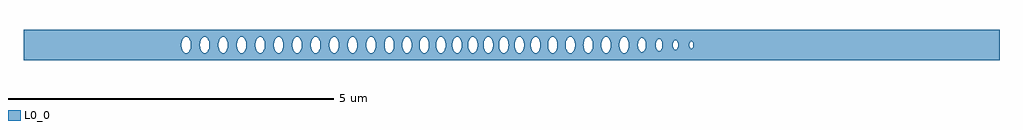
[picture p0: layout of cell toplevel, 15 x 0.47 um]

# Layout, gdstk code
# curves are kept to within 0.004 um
import gdstk
lib = gdstk.Library(unit=1e-6, precision=1e-09)
def P(c, l, *ps):  # polygons
    for p in ps: c.add(gdstk.Polygon(p, *l))
L0_0 = (0, 0)

toplevel = lib.new_cell('toplevel')
P(toplevel, L0_0, [(-4.427,-0.234),(-4.427,-0.127),(-4.459,-0.119),(-4.482,-0.093),(-4.498,-0.054),(-4.504,-0.016),(-4.498,0.054),(-4.482,0.093),(-4.459,0.119),(-4.427,0.127),(-4.427,0.234),(-7.5,0.234),(-7.5,-0.008),(-5.073,-0.008),(-5.068,0.047),(-5.05,0.093),(-5.027,0.119),(-5.001,0.128),(-4.974,0.119),(-4.951,0.093),(-4.933,0.047),(-4.928,-0.008),(-4.789,-0.008),(-4.784,0.047),(-4.766,0.093),(-4.743,0.119),(-4.716,0.128),(-4.69,0.119),(-4.67,0.098),(-4.655,0.068),(-4.644,0.016),(-4.647,-0.039),(-4.658,-0.075),(-4.681,-0.112),(-4.716,-0.128),(-4.743,-0.119),(-4.766,-0.093),(-4.784,-0.047),(-4.789,-0.008),(-4.928,-0.008),(-4.939,-0.068),(-4.954,-0.098),(-4.974,-0.119),(-5.001,-0.128),(-5.027,-0.119),(-5.047,-0.098),(-5.062,-0.068),(-5.073,-0.008),(-7.5,-0.008),(-7.5,-0.234)],
  [(-3.649,-0.032),(-3.648,0.234),(-4.427,0.234),(-4.427,0.127),(-4.397,0.112),(-4.373,0.075),(-4.363,0.039),(-4.36,-0.016),(-4.22,-0.016),(-4.217,0.039),(-4.206,0.075),(-4.183,0.112),(-4.148,0.128),(-4.121,0.119),(-4.098,0.093),(-4.08,0.047),(-4.075,-0.008),(-3.936,-0.008),(-3.931,0.047),(-3.913,0.093),(-3.89,0.119),(-3.863,0.128),(-3.837,0.119),(-3.817,0.098),(-3.802,0.068),(-3.791,0.008),(-3.796,-0.047),(-3.814,-0.093),(-3.837,-0.119),(-3.863,-0.128),(-3.89,-0.119),(-3.91,-0.098),(-3.925,-0.068),(-3.936,-0.008),(-4.075,-0.008),(-4.08,-0.047),(-4.098,-0.093),(-4.121,-0.119),(-4.148,-0.128),(-4.174,-0.119),(-4.194,-0.098),(-4.209,-0.068),(-4.22,-0.016),(-4.36,-0.016),(-4.382,-0.093),(-4.405,-0.119),(-4.427,-0.127),(-4.427,-0.234),(-3.648,-0.234)],
  [(-1.026,-0.075),(-1.058,-0.119),(-1.084,-0.128),(-1.111,-0.119),(-1.143,-0.075),(-1.152,-0.047),(-1.157,0.008),(-1.152,0.047),(-1.134,0.093),(-1.111,0.119),(-1.089,0.127),(-1.071,0.125),(-1.049,0.112),(-1.026,0.075),(-1.015,0.039),(-1.015,0.234),(-1.61,0.234),(-1.61,0.127),(-1.579,0.119),(-1.556,0.093),(-1.54,0.054),(-1.534,-0.016),(-1.413,-0.016),(-1.41,0.039),(-1.397,0.081),(-1.376,0.112),(-1.341,0.128),(-1.314,0.119),(-1.291,0.093),(-1.273,0.047),(-1.268,0.008),(-1.273,-0.047),(-1.291,-0.093),(-1.314,-0.119),(-1.341,-0.128),(-1.367,-0.119),(-1.387,-0.098),(-1.402,-0.068),(-1.413,-0.016),(-1.534,-0.016),(-1.54,-0.054),(-1.556,-0.093),(-1.579,-0.119),(-1.61,-0.127),(-1.61,-0.234),(-1.015,-0.234),(-1.015,-0.04)],
  [(-0.351,-0.234),(-0.351,-0.127),(-0.382,-0.119),(-0.402,-0.098),(-0.417,-0.068),(-0.428,-0.016),(-0.425,0.039),(-0.409,0.087),(-0.382,0.119),(-0.351,0.127),(-0.351,0.234),(-1.015,0.234),(-1.012,-0.016),(-0.908,-0.016),(-0.906,0.032),(-0.895,0.075),(-0.871,0.112),(-0.836,0.128),(-0.809,0.119),(-0.786,0.093),(-0.77,0.054),(-0.764,-0.016),(-0.666,-0.016),(-0.664,0.032),(-0.653,0.075),(-0.629,0.112),(-0.594,0.128),(-0.567,0.119),(-0.548,0.098),(-0.535,0.075),(-0.522,0.016),(-0.524,-0.032),(-0.535,-0.075),(-0.559,-0.112),(-0.594,-0.128),(-0.621,-0.119),(-0.644,-0.093),(-0.658,-0.061),(-0.666,-0.016),(-0.764,-0.016),(-0.77,-0.054),(-0.786,-0.093),(-0.809,-0.119),(-0.836,-0.128),(-0.863,-0.119),(-0.886,-0.093),(-0.908,-0.016),(-1.012,-0.016),(-1.015,-0.234)],
  [(0.192,-0.032),(0.183,-0.068),(0.16,-0.108),(0.135,-0.125),(0.108,-0.125),(0.083,-0.108),(0.063,-0.075),(0.051,-0.032),(0.049,0.008),(0.06,0.068),(0.075,0.098),(0.095,0.119),(0.122,0.128),(0.148,0.119),(0.168,0.098),(0.183,0.068),(0.194,0.008),(0.194,0.234),(-0.351,0.234),(-0.351,0.127),(-0.321,0.112),(-0.297,0.075),(-0.287,0.039),(-0.284,-0.008),(-0.191,-0.008),(-0.186,0.047),(-0.168,0.093),(-0.145,0.119),(-0.119,0.128),(-0.092,0.119),(-0.072,0.098),(-0.057,0.068),(-0.046,0.008),(-0.051,-0.047),(-0.069,-0.093),(-0.092,-0.119),(-0.119,-0.128),(-0.145,-0.119),(-0.165,-0.098),(-0.18,-0.068),(-0.191,-0.008),(-0.284,-0.008),(-0.29,-0.054),(-0.306,-0.093),(-0.329,-0.119),(-0.351,-0.127),(-0.351,-0.234),(0.194,-0.234)],
  [(2.235,0.072),(2.265,0.094),(2.29,0.085),(2.314,0.045),(2.32,-0.005),(2.478,-0.005),(2.482,0.033),(2.493,0.059),(2.512,0.076),(2.528,0.076),(2.551,0.053),(2.561,0.019),(2.561,-0.011),(2.733,-0.011),(2.741,0.041),(2.753,0.056),(2.769,0.06),(2.788,0.041),(2.796,-0.011),(2.788,-0.041),(2.769,-0.06),(2.746,-0.049),(2.733,-0.011),(2.561,-0.011),(2.551,-0.053),(2.538,-0.07),(2.518,-0.077),(2.493,-0.059),(2.478,-0.005),(2.32,-0.005),(2.308,-0.06),(2.281,-0.091),(2.255,-0.091),(2.23,-0.064),(2.23,-0.234),(7.5,-0.234),(7.5,0.234),(2.23,0.234),(2.23,0.064)],
  [(-3.51,-0.039),(-3.523,-0.081),(-3.54,-0.108),(-3.552,-0.119),(-3.579,-0.128),(-3.606,-0.119),(-3.622,-0.103),(-3.638,-0.075),(-3.648,-0.04),(-3.648,-0.234),(-3.337,-0.234),(-3.337,-0.103),(-3.356,-0.068),(-3.367,-0.016),(-3.362,0.047),(-3.337,0.103),(-3.337,0.234),(-3.648,0.234),(-3.648,0.039),(-3.629,0.093),(-3.606,0.119),(-3.579,0.128),(-3.552,0.119),(-3.526,0.087),(-3.512,0.047),(-3.507,0.016)],
  [(-3.33,0.112),(-3.295,0.128),(-3.268,0.119),(-3.256,0.108),(-3.231,0.061),(-3.222,0),(-3.231,-0.061),(-3.26,-0.112),(-3.295,-0.128),(-3.321,-0.119),(-3.337,-0.103),(-3.337,-0.234),(-3.011,-0.234),(-3.011,-0.128),(-3.037,-0.119),(-3.057,-0.098),(-3.072,-0.068),(-3.083,-0.008),(-3.078,0.047),(-3.06,0.093),(-3.037,0.119),(-3.011,0.128),(-3.011,0.234),(-3.337,0.234),(-3.337,0.103)],
  [(-2.939,-0.016),(-2.949,-0.068),(-2.964,-0.098),(-2.984,-0.119),(-3.011,-0.128),(-3.011,-0.234),(-2.687,-0.234),(-2.687,-0.108),(-2.726,-0.128),(-2.761,-0.112),(-2.79,-0.061),(-2.799,0),(-2.79,0.061),(-2.761,0.112),(-2.726,0.128),(-2.687,0.108),(-2.687,0.234),(-3.011,0.234),(-3.011,0.128),(-2.984,0.119),(-2.961,0.093),(-2.943,0.047)],
  [(-2.375,-0.05),(-2.403,-0.108),(-2.428,-0.125),(-2.451,-0.126),(-2.477,-0.112),(-2.495,-0.087),(-2.514,-0.016),(-2.512,0.032),(-2.503,0.068),(-2.488,0.098),(-2.469,0.119),(-2.442,0.128),(-2.415,0.119),(-2.392,0.093),(-2.375,0.047),(-2.375,0.234),(-2.687,0.234),(-2.687,0.108),(-2.665,0.068),(-2.654,0.016),(-2.659,-0.047),(-2.67,-0.081),(-2.687,-0.108),(-2.687,-0.234),(-2.375,-0.234)],
  [(-2.372,-0.032),(-2.375,-0.234),(-1.942,-0.234),(-1.942,-0.061),(-1.951,-0.016),(-1.942,0.061),(-1.942,0.234),(-2.375,0.234),(-2.37,-0.008),(-2.231,-0.008),(-2.226,0.047),(-2.208,0.093),(-2.185,0.119),(-2.159,0.128),(-2.132,0.119),(-2.112,0.098),(-2.097,0.068),(-2.086,0.008),(-2.091,-0.047),(-2.109,-0.093),(-2.132,-0.119),(-2.159,-0.128),(-2.185,-0.119),(-2.205,-0.098),(-2.22,-0.068),(-2.231,-0.008),(-2.37,-0.008)],
  [(-1.929,0.093),(-1.914,0.112),(-1.893,0.125),(-1.865,0.125),(-1.844,0.112),(-1.82,0.075),(-1.81,0.039),(-1.807,-0.016),(-1.829,-0.093),(-1.844,-0.112),(-1.865,-0.125),(-1.879,-0.128),(-1.906,-0.119),(-1.929,-0.093),(-1.942,-0.061),(-1.942,-0.234),(-1.61,-0.234),(-1.61,-0.127),(-1.641,-0.112),(-1.659,-0.087),(-1.678,-0.016),(-1.675,0.039),(-1.662,0.081),(-1.641,0.112),(-1.61,0.127),(-1.61,0.234),(-1.942,0.234),(-1.942,0.061)],
  [(0.563,0.032),(0.577,0.081),(0.577,0.234),(0.194,0.234),(0.194,-0.016),(0.299,-0.016),(0.301,0.032),(0.312,0.075),(0.336,0.112),(0.371,0.128),(0.398,0.119),(0.417,0.098),(0.432,0.068),(0.443,0.016),(0.44,-0.039),(0.427,-0.081),(0.398,-0.119),(0.371,-0.128),(0.344,-0.119),(0.321,-0.093),(0.307,-0.061),(0.299,-0.016),(0.194,-0.016),(0.194,-0.234),(0.577,-0.234),(0.577,-0.081),(0.561,-0.016)],
  [(0.584,0.093),(0.606,0.119),(0.624,0.126),(0.647,0.125),(0.668,0.112),(0.697,0.061),(0.705,-0.016),(0.692,-0.075),(0.66,-0.119),(0.633,-0.128),(0.606,-0.119),(0.577,-0.081),(0.577,-0.234),(0.882,-0.234),(0.882,-0.121),(0.858,-0.098),(0.846,-0.075),(0.832,-0.008),(0.843,0.068),(0.858,0.098),(0.882,0.121),(0.882,0.234),(0.577,0.234),(0.577,0.081)],
  [(0.976,-0.016),(0.966,-0.068),(0.943,-0.108),(0.931,-0.119),(0.905,-0.128),(0.882,-0.121),(0.882,-0.234),(1.197,-0.234),(1.197,-0.123),(1.165,-0.125),(1.136,-0.103),(1.115,-0.061),(1.106,0),(1.115,0.061),(1.136,0.103),(1.165,0.125),(1.197,0.123),(1.197,0.234),(0.882,0.234),(0.882,0.121),(0.905,0.128),(0.918,0.125),(0.951,0.098),(0.972,0.047)],
  [(1.499,-0.098),(1.467,-0.125),(1.453,-0.128),(1.427,-0.119),(1.397,-0.081),(1.381,-0.016),(1.383,0.032),(1.392,0.068),(1.418,0.112),(1.453,0.128),(1.48,0.119),(1.499,0.098),(1.499,0.234),(1.197,0.234),(1.197,0.123),(1.218,0.108),(1.232,0.087),(1.251,0.016),(1.248,-0.039),(1.235,-0.081),(1.218,-0.108),(1.197,-0.123),(1.197,-0.234),(1.499,-0.234)],
  [(1.799,-0.039),(1.789,-0.075),(1.769,-0.108),(1.744,-0.125),(1.717,-0.125),(1.695,-0.112),(1.672,-0.075),(1.66,-0.032),(1.658,0.008),(1.663,0.047),(1.681,0.093),(1.704,0.119),(1.73,0.128),(1.757,0.119),(1.777,0.098),(1.794,0.061),(1.803,0.008),(1.803,0.234),(1.499,0.234),(1.499,0.098),(1.521,0.047),(1.526,0),(1.521,-0.047),(1.499,-0.098),(1.499,-0.234),(1.803,-0.234),(1.803,-0.008)],
  [(2.23,-0.064),(2.216,-0.006),(2.22,0.035),(2.23,0.064),(2.23,0.234),(1.803,0.234),(1.803,-0.014),(1.943,-0.014),(1.947,0.041),(1.957,0.071),(1.982,0.103),(2.005,0.111),(2.028,0.103),(2.048,0.081),(2.067,0.014),(2.063,-0.041),(2.053,-0.071),(2.032,-0.1),(2.005,-0.111),(1.982,-0.103),(1.962,-0.081),(1.943,-0.014),(1.803,-0.014),(1.803,-0.234),(2.23,-0.234)])

lib.write_gds('toplevel.gds')
